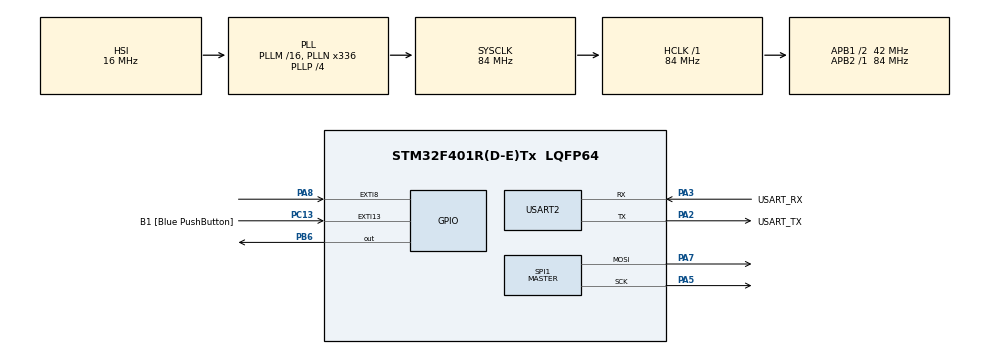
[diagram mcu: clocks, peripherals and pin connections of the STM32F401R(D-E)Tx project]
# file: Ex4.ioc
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Dma.Request0=SPI1_TX
Dma.SPI1_TX.0.Direction=DMA_MEMORY_TO_PERIPH
Dma.SPI1_TX.0.FIFOMode=DMA_FIFOMODE_DISABLE
Dma.SPI1_TX.0.Instance=DMA2_Stream3
Dma.SPI1_TX.0.MemDataAlignment=DMA_MDATAALIGN_BYTE
Dma.SPI1_TX.0.MemInc=DMA_MINC_ENABLE
Dma.SPI1_TX.0.Mode=DMA_NORMAL
Dma.SPI1_TX.0.PeriphDataAlignment=DMA_PDATAALIGN_BYTE
Dma.SPI1_TX.0.PeriphInc=DMA_PINC_DISABLE
Dma.SPI1_TX.0.Priority=DMA_PRIORITY_LOW
Mcu.Family=STM32F4
Mcu.Name=STM32F401R(D-E)Tx
Mcu.Package=LQFP64
NVIC.DMA2_Stream3_IRQn=true\:0\:0\:false\:false\:true\:false\:true\:true
NVIC.EXTI9_5_IRQn=true\:0\:0\:false\:false\:true\:true\:true\:true
NVIC.PriorityGroup=NVIC_PRIORITYGROUP_0
NVIC.TIM1_TRG_COM_TIM11_IRQn=true\:0\:1\:false\:false\:true\:true\:true\:true
NVIC.TIM1_UP_TIM10_IRQn=true\:0\:0\:false\:false\:true\:true\:true\:true
NVIC.TIM3_IRQn=true\:0\:0\:false\:false\:true\:true\:true\:true
PA13.GPIO_Label=TMS
PA13.Mode=Serial_Wire
PA13.Signal=SYS_JTMS-SWDIO
PA14.GPIO_Label=TCK
PA14.Mode=Serial_Wire
PA14.Signal=SYS_JTCK-SWCLK
PA2.GPIO_Label=USART_TX
PA2.GPIO_Mode=GPIO_MODE_AF_PP
PA2.GPIO_PuPd=GPIO_NOPULL
PA2.GPIO_Speed=GPIO_SPEED_FREQ_LOW
PA2.Mode=Asynchronous
PA2.Signal=USART2_TX
PA3.GPIO_Label=USART_RX
PA3.GPIO_Mode=GPIO_MODE_AF_PP
PA3.GPIO_PuPd=GPIO_NOPULL
PA3.GPIO_Speed=GPIO_SPEED_FREQ_LOW
PA3.Mode=Asynchronous
PA3.Signal=USART2_RX
PA5.Mode=TX_Only_Simplex_Unidirect_Master
PA5.Signal=SPI1_SCK
PA7.Mode=TX_Only_Simplex_Unidirect_Master
PA7.Signal=SPI1_MOSI
PA8.Signal=GPXTI8
PB3.GPIO_Label=SWO
PB3.Signal=SYS_JTDO-SWO
PB6.Signal=GPIO_Output
PC13-ANTI_TAMP.GPIO_Label=B1 [Blue PushButton]
PC13-ANTI_TAMP.GPIO_ModeDefaultEXTI=GPIO_MODE_IT_FALLING
PC13-ANTI_TAMP.GPIO_PuPd=GPIO_NOPULL
PC13-ANTI_TAMP.Signal=GPXTI13
PC14-OSC32_IN.Mode=LSE-External-Oscillator
PC14-OSC32_IN.Signal=RCC_OSC32_IN
PC15-OSC32_OUT.Mode=LSE-External-Oscillator
PC15-OSC32_OUT.Signal=RCC_OSC32_OUT
PH0\ -\ OSC_IN.Mode=HSE-External-Clock-Source
PH0\ -\ OSC_IN.Signal=RCC_OSC_IN
PH1\ -\ OSC_OUT.Mode=HSE-External-Clock-Source
PH1\ -\ OSC_OUT.Signal=RCC_OSC_OUT
ProjectManager.HeapSize=0x200
ProjectManager.StackSize=0x400
ProjectManager.TargetToolchain=STM32CubeIDE
RCC.48MHZClocksFreq_Value=48000000
RCC.AHBFreq_Value=84000000
RCC.APB1CLKDivider=RCC_HCLK_DIV2
RCC.APB1Freq_Value=42000000
RCC.APB1TimFreq_Value=84000000
RCC.APB2Freq_Value=84000000
RCC.APB2TimFreq_Value=84000000
RCC.CortexFreq_Value=84000000
RCC.HCLKFreq_Value=84000000
RCC.HSE_VALUE=8000000
RCC.HSI_VALUE=16000000
RCC.PLLN=336
RCC.PLLP=RCC_PLLP_DIV4
RCC.PLLQ=7
RCC.SYSCLKFreq_VALUE=84000000
RCC.SYSCLKSource=RCC_SYSCLKSOURCE_PLLCLK
RCC.VCOOutputFreq_Value=336000000
SPI1.BaudRatePrescaler=SPI_BAUDRATEPRESCALER_4
SPI1.Direction=SPI_DIRECTION_2LINES
SPI1.Mode=SPI_MODE_MASTER
SPI1.VirtualType=VM_MASTER
TIM10.Period=4000-1
TIM10.Prescaler=84-1
TIM11.Period=10000-1
TIM11.Prescaler=8400-1
TIM3.Period=50000-1
TIM3.Prescaler=16800-1
USART2.VirtualMode=VM_ASYNC
VP_TIM10_VS_ClockSourceINT.Mode=Enable_Timer
VP_TIM11_VS_ClockSourceINT.Mode=Enable_Timer
VP_TIM3_VS_ClockSourceINT.Mode=Internal
board=NUCLEO-F401RE

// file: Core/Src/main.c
/* USER CODE BEGIN Header */
/**
  ******************************************************************************
  * @file           : main.c
  * @brief          : Main program body
  ******************************************************************************
  * @attention
  *
  * Copyright (c) 2023 STMicroelectronics.
  * All rights reserved.
  *
  * This software is licensed under terms that can be found in the LICENSE file
  * in the root directory of this software component.
  * If no LICENSE file comes with this software, it is provided AS-IS.
  *
  ******************************************************************************
  */
/* USER CODE END Header */
#include "main.h"

/* USER CODE BEGIN PD */
#define RCLK_PIN GPIOB, GPIO_PIN_6
/* USER CODE END PD */

SPI_HandleTypeDef hspi1;
DMA_HandleTypeDef hdma_spi1_tx;

TIM_HandleTypeDef htim3;
TIM_HandleTypeDef htim10;
TIM_HandleTypeDef htim11;

UART_HandleTypeDef huart2;

/* USER CODE BEGIN PV */
int column_index=0;
uint8_t matrix[5][2]={
		{0,16},
		{0,8},
		{0,4},
		{0,2},
		{0,1}
};
uint8_t matrix_void[5][2]={
		{0,16},
		{0,8},
		{0,4},
		{0,2},
		{0,1}
};
uint8_t matrix_A[5][2]={
		{31,16},
		{36,8},
		{68,4},
		{36,2},
		{31,1}
};
uint8_t matrix_B[5][2]={
		{127,16},
		{73,8},
		{73,4},
		{73,2},
		{54,1}
};
uint8_t matrix_C[5][2]={
		{62,16},
		{65,8},
		{65,4},
		{65,2},
		{34,1}
};
int i=0;
int switch_letter=0;
int stop_writing=0;
/* USER CODE END PV */

void SystemClock_Config(void);
static void MX_GPIO_Init(void);
static void MX_DMA_Init(void);
static void MX_USART2_UART_Init(void);
static void MX_SPI1_Init(void);
static void MX_TIM10_Init(void);
static void MX_TIM11_Init(void);
static void MX_TIM3_Init(void);
/* USER CODE BEGIN PFP */
void HAL_TIM_PeriodElapsedCallback(TIM_HandleTypeDef *htim){
	if(htim==&htim10)
		HAL_SPI_Transmit_DMA(&hspi1, matrix[column_index], 2);
	if(htim==&htim11)
		switch_letter=1;
	if(htim==&htim3)
		stop_writing=1;

}
void HAL_SPI_TxCpltCallback(SPI_HandleTypeDef *hspi){
	if(hspi==&hspi1){
		HAL_GPIO_WritePin(RCLK_PIN, GPIO_PIN_SET);
		if(++column_index>4)
			column_index=0;
		HAL_GPIO_WritePin(RCLK_PIN, GPIO_PIN_RESET);
	}
}
void HAL_GPIO_EXTI_Callback(uint16_t GPIO_Pin){
	HAL_TIM_Base_Start_IT(&htim10);
	HAL_TIM_Base_Start_IT(&htim11);
	HAL_TIM_Base_Start_IT(&htim3);
}
/* USER CODE END PFP */

int main(void)
{

  /* MCU Configuration--------------------------------------------------------*/

  /* Reset of all peripherals, Initializes the Flash interface and the Systick. */
  HAL_Init();

  /* Configure the system clock */
  SystemClock_Config();

  /* Initialize all configured peripherals */
  MX_GPIO_Init();
  MX_DMA_Init();
  MX_USART2_UART_Init();
  MX_SPI1_Init();
  MX_TIM10_Init();
  MX_TIM11_Init();
  MX_TIM3_Init();

  /* Infinite loop */
  /* USER CODE BEGIN WHILE */
  while (1)
  {
	  if(switch_letter){
		if(i==0){
			memcpy(matrix, matrix_A, sizeof(matrix));
			i++;
		}
		else if(i==1){
			memcpy(matrix, matrix_B, sizeof(matrix));
			i++;
		}
		else if(i==2){
			memcpy(matrix, matrix_C, sizeof(matrix));
			i=0;
		}
		switch_letter=0;
	  }
	  if(stop_writing==1){
		  stop_writing=0;
		  HAL_TIM_Base_Stop_IT(&htim3);
		  HAL_TIM_Base_Stop_IT(&htim10);
		  HAL_TIM_Base_Stop_IT(&htim11);
		  memcpy(matrix, matrix_void, sizeof(matrix));
	  }
    /* USER CODE END WHILE */

  }
}

void SystemClock_Config(void)
{
  RCC_OscInitTypeDef RCC_OscInitStruct = {0};
  RCC_ClkInitTypeDef RCC_ClkInitStruct = {0};

  /** Configure the main internal regulator output voltage
  */
  __HAL_RCC_PWR_CLK_ENABLE();
  __HAL_PWR_VOLTAGESCALING_CONFIG(PWR_REGULATOR_VOLTAGE_SCALE2);

  /** Initializes the RCC Oscillators according to the specified parameters
  * in the RCC_OscInitTypeDef structure.
  */
  RCC_OscInitStruct.OscillatorType = RCC_OSCILLATORTYPE_HSI;
  RCC_OscInitStruct.HSIState = RCC_HSI_ON;
  RCC_OscInitStruct.HSICalibrationValue = RCC_HSICALIBRATION_DEFAULT;
  RCC_OscInitStruct.PLL.PLLState = RCC_PLL_ON;
  RCC_OscInitStruct.PLL.PLLSource = RCC_PLLSOURCE_HSI;
  RCC_OscInitStruct.PLL.PLLM = 16;
  RCC_OscInitStruct.PLL.PLLN = 336;
  RCC_OscInitStruct.PLL.PLLP = RCC_PLLP_DIV4;
  RCC_OscInitStruct.PLL.PLLQ = 7;
  if (HAL_RCC_OscConfig(&RCC_OscInitStruct) != HAL_OK)
  {
    Error_Handler();
  }

  /** Initializes the CPU, AHB and APB buses clocks
  */
  RCC_ClkInitStruct.ClockType = RCC_CLOCKTYPE_HCLK|RCC_CLOCKTYPE_SYSCLK
                              |RCC_CLOCKTYPE_PCLK1|RCC_CLOCKTYPE_PCLK2;
  RCC_ClkInitStruct.SYSCLKSource = RCC_SYSCLKSOURCE_PLLCLK;
  RCC_ClkInitStruct.AHBCLKDivider = RCC_SYSCLK_DIV1;
  RCC_ClkInitStruct.APB1CLKDivider = RCC_HCLK_DIV2;
  RCC_ClkInitStruct.APB2CLKDivider = RCC_HCLK_DIV1;

  if (HAL_RCC_ClockConfig(&RCC_ClkInitStruct, FLASH_LATENCY_2) != HAL_OK)
  {
    Error_Handler();
  }
}

static void MX_SPI1_Init(void)
{

  /* SPI1 parameter configuration*/
  hspi1.Instance = SPI1;
  hspi1.Init.Mode = SPI_MODE_MASTER;
  hspi1.Init.Direction = SPI_DIRECTION_2LINES;
  hspi1.Init.DataSize = SPI_DATASIZE_8BIT;
  hspi1.Init.CLKPolarity = SPI_POLARITY_LOW;
  hspi1.Init.CLKPhase = SPI_PHASE_1EDGE;
  hspi1.Init.NSS = SPI_NSS_SOFT;
  hspi1.Init.BaudRatePrescaler = SPI_BAUDRATEPRESCALER_4;
  hspi1.Init.FirstBit = SPI_FIRSTBIT_MSB;
  hspi1.Init.TIMode = SPI_TIMODE_DISABLE;
  hspi1.Init.CRCCalculation = SPI_CRCCALCULATION_DISABLE;
  hspi1.Init.CRCPolynomial = 10;
  if (HAL_SPI_Init(&hspi1) != HAL_OK)
  {
    Error_Handler();
  }

}

static void MX_TIM3_Init(void)
{

  TIM_ClockConfigTypeDef sClockSourceConfig = {0};
  TIM_MasterConfigTypeDef sMasterConfig = {0};

  htim3.Instance = TIM3;
  htim3.Init.Prescaler = 16800-1;
  htim3.Init.CounterMode = TIM_COUNTERMODE_UP;
  htim3.Init.Period = 50000-1;
  htim3.Init.ClockDivision = TIM_CLOCKDIVISION_DIV1;
  htim3.Init.AutoReloadPreload = TIM_AUTORELOAD_PRELOAD_DISABLE;
  if (HAL_TIM_Base_Init(&htim3) != HAL_OK)
  {
    Error_Handler();
  }
  sClockSourceConfig.ClockSource = TIM_CLOCKSOURCE_INTERNAL;
  if (HAL_TIM_ConfigClockSource(&htim3, &sClockSourceConfig) != HAL_OK)
  {
    Error_Handler();
  }
  sMasterConfig.MasterOutputTrigger = TIM_TRGO_RESET;
  sMasterConfig.MasterSlaveMode = TIM_MASTERSLAVEMODE_DISABLE;
  if (HAL_TIMEx_MasterConfigSynchronization(&htim3, &sMasterConfig) != HAL_OK)
  {
    Error_Handler();
  }

}

static void MX_TIM10_Init(void)
{

  htim10.Instance = TIM10;
  htim10.Init.Prescaler = 84-1;
  htim10.Init.CounterMode = TIM_COUNTERMODE_UP;
  htim10.Init.Period = 4000-1;
  htim10.Init.ClockDivision = TIM_CLOCKDIVISION_DIV1;
  htim10.Init.AutoReloadPreload = TIM_AUTORELOAD_PRELOAD_DISABLE;
  if (HAL_TIM_Base_Init(&htim10) != HAL_OK)
  {
    Error_Handler();
  }

}

static void MX_TIM11_Init(void)
{

  htim11.Instance = TIM11;
  htim11.Init.Prescaler = 8400-1;
  htim11.Init.CounterMode = TIM_COUNTERMODE_UP;
  htim11.Init.Period = 10000-1;
  htim11.Init.ClockDivision = TIM_CLOCKDIVISION_DIV1;
  htim11.Init.AutoReloadPreload = TIM_AUTORELOAD_PRELOAD_DISABLE;
  if (HAL_TIM_Base_Init(&htim11) != HAL_OK)
  {
    Error_Handler();
  }

}

static void MX_USART2_UART_Init(void)
{

  huart2.Instance = USART2;
  huart2.Init.BaudRate = 115200;
  huart2.Init.WordLength = UART_WORDLENGTH_8B;
  huart2.Init.StopBits = UART_STOPBITS_1;
  huart2.Init.Parity = UART_PARITY_NONE;
  huart2.Init.Mode = UART_MODE_TX_RX;
  huart2.Init.HwFlowCtl = UART_HWCONTROL_NONE;
  huart2.Init.OverSampling = UART_OVERSAMPLING_16;
  if (HAL_UART_Init(&huart2) != HAL_OK)
  {
    Error_Handler();
  }

}

static void MX_DMA_Init(void)
{

  /* DMA controller clock enable */
  __HAL_RCC_DMA2_CLK_ENABLE();

  /* DMA interrupt init */
  /* DMA2_Stream3_IRQn interrupt configuration */
  HAL_NVIC_SetPriority(DMA2_Stream3_IRQn, 0, 0);
  HAL_NVIC_EnableIRQ(DMA2_Stream3_IRQn);

}

static void MX_GPIO_Init(void)
{
  GPIO_InitTypeDef GPIO_InitStruct = {0};

  /* GPIO Ports Clock Enable */
  __HAL_RCC_GPIOC_CLK_ENABLE();
  __HAL_RCC_GPIOH_CLK_ENABLE();
  __HAL_RCC_GPIOA_CLK_ENABLE();
  __HAL_RCC_GPIOB_CLK_ENABLE();

  /*Configure GPIO pin Output Level */
  HAL_GPIO_WritePin(GPIOB, GPIO_PIN_6, GPIO_PIN_RESET);

  /*Configure GPIO pin : B1_Pin */
  GPIO_InitStruct.Pin = B1_Pin;
  GPIO_InitStruct.Mode = GPIO_MODE_IT_FALLING;
  GPIO_InitStruct.Pull = GPIO_NOPULL;
  HAL_GPIO_Init(B1_GPIO_Port, &GPIO_InitStruct);

  /*Configure GPIO pin : PA8 */
  GPIO_InitStruct.Pin = GPIO_PIN_8;
  GPIO_InitStruct.Mode = GPIO_MODE_IT_RISING;
  GPIO_InitStruct.Pull = GPIO_NOPULL;
  HAL_GPIO_Init(GPIOA, &GPIO_InitStruct);

  /*Configure GPIO pin : PB6 */
  GPIO_InitStruct.Pin = GPIO_PIN_6;
  GPIO_InitStruct.Mode = GPIO_MODE_OUTPUT_PP;
  GPIO_InitStruct.Pull = GPIO_NOPULL;
  GPIO_InitStruct.Speed = GPIO_SPEED_FREQ_LOW;
  HAL_GPIO_Init(GPIOB, &GPIO_InitStruct);

  /* EXTI interrupt init*/
  HAL_NVIC_SetPriority(EXTI9_5_IRQn, 0, 0);
  HAL_NVIC_EnableIRQ(EXTI9_5_IRQn);

}

void Error_Handler(void)
{
  __disable_irq();
  while (1)
  {
  }
}
